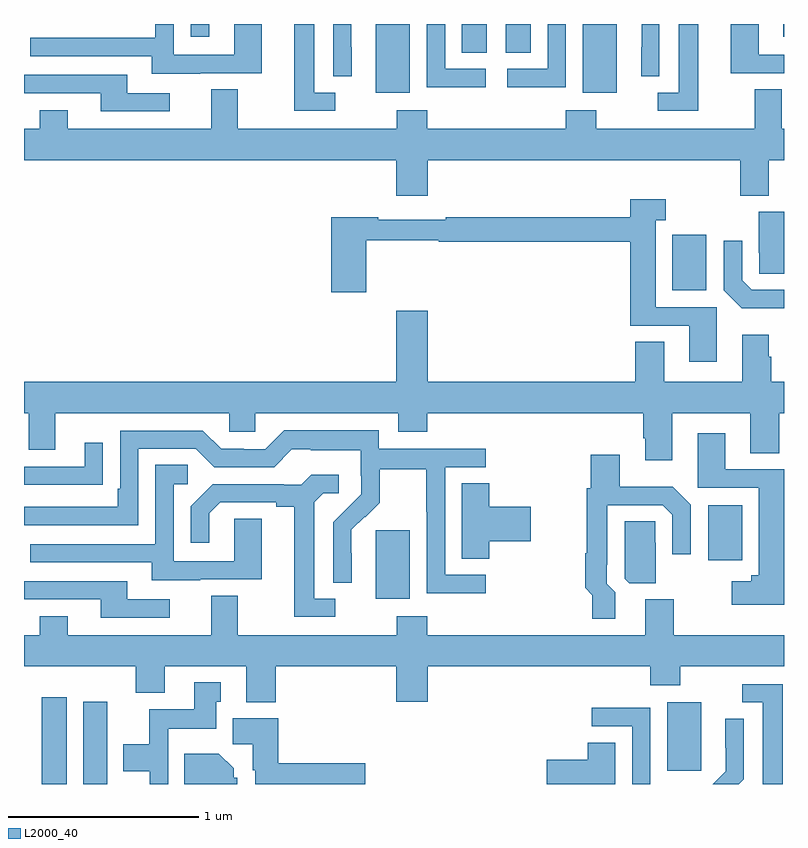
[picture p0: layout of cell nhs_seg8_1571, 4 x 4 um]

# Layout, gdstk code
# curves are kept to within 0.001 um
import gdstk
lib = gdstk.Library(unit=1e-6, precision=1e-09)
def R(c, l, rs):  # rectangles x0, y0, x1, y1
    for r in rs: c.add(gdstk.rectangle(r[:2], r[2:], *l))
def P(c, l, *ps):  # polygons
    for p in ps: c.add(gdstk.Polygon(p, *l))
L2000_40 = (2000, 40)

nhs_seg8_1571 = lib.new_cell('nhs_seg8_1571')
R(nhs_seg8_1571, L2000_40, [(211.094,1095.9,211.225,1096.357), (211.313,1095.9,211.438,1096.333), (214.385,1095.969,214.564,1096.33), (212.852,1096.874,213.031,1097.235), (214.601,1097.078,214.78,1097.368), (214.412,1098.5,214.591,1098.79), (212.852,1099.538,213.031,1099.899), (213.941,1099.538,214.12,1099.899), (213.305,1099.75,213.436,1099.9), (213.536,1099.75,213.667,1099.9), (211.878,1099.833,211.975,1099.9), (214.997,1099.833,215,1099.9)])
P(nhs_seg8_1571, L2000_40, [(215,1099.737),(214.866,1099.737),(214.866,1099.9),(214.721,1099.9),(214.721,1099.641),(215,1099.641)],
  [(211.927,1099.641),(212.251,1099.641),(212.251,1099.9),(212.106,1099.9),(212.106,1099.737),(211.788,1099.737),(211.788,1099.9),(211.692,1099.9),(211.692,1099.827),(211.033,1099.827),(211.033,1099.731),(211.673,1099.731),(211.673,1099.637),(211.927,1099.637)],
  [(214.549,1099.9),(214.445,1099.9),(214.445,1099.539),(214.335,1099.539),(214.335,1099.443),(214.549,1099.443)],
  [(212.724,1099.778),(212.723,1099.778),(212.723,1099.9),(212.628,1099.9),(212.628,1099.624),(212.724,1099.624)],
  [(213.43,1099.665),(213.216,1099.665),(213.216,1099.9),(213.12,1099.9),(213.12,1099.567),(213.43,1099.567)],
  [(213.852,1099.9),(213.756,1099.9),(213.756,1099.665),(213.543,1099.665),(213.543,1099.567),(213.852,1099.567)],
  [(212.638,1099.539),(212.527,1099.539),(212.527,1099.9),(212.423,1099.9),(212.423,1099.443),(212.638,1099.443)],
  [(214.344,1099.9),(214.25,1099.9),(214.25,1099.778),(214.248,1099.778),(214.248,1099.624),(214.344,1099.624)],
  [(211.768,1099.536),(211.543,1099.536),(211.543,1099.632),(211,1099.632),(211,1099.536),(211.403,1099.536),(211.403,1099.44),(211.768,1099.44)],
  [(213.124,1099.184),(214.769,1099.184),(214.769,1098.997),(214.921,1098.997),(214.921,1099.184),(215,1099.184),(215,1099.348),(214.987,1099.348),(214.987,1099.556),(214.847,1099.556),(214.847,1099.348),(214.011,1099.348),(214.011,1099.447),(213.851,1099.447),(213.851,1099.348),(213.122,1099.348),(213.122,1099.447),(212.962,1099.447),(212.962,1099.348),(212.125,1099.348),(212.125,1099.556),(211.985,1099.556),(211.985,1099.348),(211.231,1099.348),(211.231,1099.447),(211.084,1099.447),(211.084,1099.348),(211,1099.348),(211,1099.184),(212.96,1099.184),(212.96,1098.996),(213.124,1098.996)],
  [(214.645,1098.408),(214.324,1098.408),(214.324,1098.867),(214.378,1098.867),(214.378,1098.977),(214.19,1098.977),(214.19,1098.883),(213.22,1098.883),(213.22,1098.87),(212.864,1098.87),(212.864,1098.883),(212.618,1098.883),(212.618,1098.489),(212.801,1098.489),(212.801,1098.762),(213.184,1098.762),(213.184,1098.754),(214.19,1098.754),(214.19,1098.312),(214.502,1098.312),(214.502,1098.123),(214.645,1098.123)],
  [(215,1098.912),(214.868,1098.912),(214.868,1098.697),(214.869,1098.697),(214.869,1098.586),(215,1098.586)],
  [(215,1098.501),(214.83,1098.501),(214.779,1098.552),(214.779,1098.76),(214.683,1098.76),(214.683,1098.498),(214.777,1098.404),(215,1098.404)],
  [(214.411,1097.852),(214.823,1097.852),(214.823,1097.641),(214.976,1097.641),(214.976,1097.852),(215,1097.852),(215,1098.016),(214.934,1098.016),(214.934,1098.149),(214.921,1098.149),(214.921,1098.265),(214.781,1098.265),(214.781,1098.016),(214.369,1098.016),(214.369,1098.227),(214.217,1098.227),(214.217,1098.016),(213.124,1098.016),(213.124,1098.391),(212.96,1098.391),(212.96,1098.016),(211,1098.016),(211,1097.852),(211.025,1097.852),(211.025,1097.658),(211.165,1097.658),(211.165,1097.852),(212.079,1097.852),(212.079,1097.754),(212.217,1097.754),(212.217,1097.852),(212.969,1097.852),(212.969,1097.753),(213.122,1097.753),(213.122,1097.852),(214.259,1097.852),(214.259,1097.719),(214.271,1097.719),(214.271,1097.604),(214.411,1097.604)],
  [(213.43,1097.001),(213.216,1097.001),(213.216,1097.568),(213.43,1097.568),(213.43,1097.664),(212.868,1097.664),(212.868,1097.761),(212.371,1097.761),(212.271,1097.661),(212.156,1097.661),(212.156,1097.664),(212.037,1097.664),(211.941,1097.76),(211.506,1097.76),(211.506,1097.455),(211.493,1097.455),(211.493,1097.358),(211,1097.358),(211,1097.262),(211.602,1097.262),(211.602,1097.664),(211.905,1097.664),(212.001,1097.568),(212.316,1097.568),(212.409,1097.661),(212.509,1097.661),(212.509,1097.657),(212.772,1097.657),(212.772,1097.523),(212.774,1097.523),(212.774,1097.426),(212.628,1097.278),(212.628,1096.96),(212.724,1096.96),(212.723,1097.237),(212.793,1097.307),(212.796,1097.304),(212.873,1097.381),(212.873,1097.556),(213.118,1097.556),(213.118,1097.332),(213.12,1097.332),(213.12,1096.903),(213.43,1096.903)],
  [(215,1097.556),(214.69,1097.556),(214.69,1097.746),(214.547,1097.746),(214.547,1097.46),(214.868,1097.46),(214.868,1096.998),(214.827,1096.998),(214.827,1096.966),(214.725,1096.966),(214.725,1096.844),(215,1096.844)],
  [(211.313,1097.476),(211.415,1097.476),(211.415,1097.695),(211.319,1097.695),(211.319,1097.571),(211,1097.571),(211,1097.475),(211.313,1097.475)],
  [(214.111,1096.91),(214.068,1096.953),(214.068,1097.053),(214.071,1097.053),(214.071,1097.367),(214.362,1097.367),(214.413,1097.316),(214.413,1097.109),(214.509,1097.109),(214.509,1097.37),(214.415,1097.464),(214.135,1097.464),(214.135,1097.632),(213.983,1097.632),(213.983,1097.457),(213.963,1097.457),(213.963,1097.114),(213.953,1097.114),(213.953,1096.932),(213.991,1096.893),(213.991,1096.77),(214.111,1096.77)],
  [(211.927,1096.977),(212.251,1096.977),(212.251,1097.297),(212.106,1097.297),(212.106,1097.073),(211.788,1097.073),(211.788,1097.478),(211.861,1097.478),(211.861,1097.579),(211.692,1097.579),(211.692,1097.163),(211.033,1097.163),(211.033,1097.067),(211.673,1097.067),(211.673,1096.973),(211.927,1096.973)],
  [(212.638,1096.875),(212.527,1096.875),(212.527,1097.383),(212.574,1097.43),(212.656,1097.43),(212.656,1097.527),(212.512,1097.527),(212.46,1097.475),(212.366,1097.475),(212.366,1097.478),(211.994,1097.478),(211.878,1097.362),(211.878,1097.169),(211.975,1097.169),(211.975,1097.325),(212.032,1097.382),(212.327,1097.382),(212.327,1097.36),(212.423,1097.36),(212.423,1096.779),(212.638,1096.779)],
  [(213.449,1097.177),(213.667,1097.177),(213.667,1097.36),(213.449,1097.36),(213.449,1097.483),(213.305,1097.483),(213.305,1097.086),(213.449,1097.086)],
  [(214.324,1097.171),(214.323,1097.171),(214.323,1097.282),(214.161,1097.282),(214.161,1096.98),(214.185,1096.957),(214.324,1096.957)],
  [(211.768,1096.872),(211.543,1096.872),(211.543,1096.968),(211,1096.968),(211,1096.872),(211.403,1096.872),(211.403,1096.776),(211.768,1096.776)],
  [(212.324,1096.52),(212.96,1096.52),(212.96,1096.332),(213.124,1096.332),(213.124,1096.52),(214.295,1096.52),(214.295,1096.421),(214.455,1096.421),(214.455,1096.52),(215,1096.52),(215,1096.684),(214.419,1096.684),(214.419,1096.872),(214.271,1096.872),(214.271,1096.684),(213.122,1096.684),(213.122,1096.783),(212.962,1096.783),(212.962,1096.684),(212.125,1096.684),(212.125,1096.892),(211.985,1096.892),(211.985,1096.684),(211.231,1096.684),(211.231,1096.783),(211.084,1096.783),(211.084,1096.684),(211,1096.684),(211,1096.52),(211.589,1096.52),(211.589,1096.379),(211.741,1096.379),(211.741,1096.52),(212.171,1096.52),(212.171,1096.331),(212.324,1096.331)],
  [(211.758,1096.19),(212.011,1096.19),(212.011,1096.332),(212.035,1096.332),(212.035,1096.435),(211.895,1096.435),(211.895,1096.294),(211.66,1096.294),(211.66,1096.108),(211.523,1096.108),(211.523,1095.968),(211.662,1095.968),(211.662,1095.9),(211.758,1095.9)],
  [(214.993,1096.425),(214.779,1096.425),(214.779,1096.329),(214.889,1096.329),(214.889,1095.9),(214.993,1095.9)],
  [(214.296,1096.302),(213.987,1096.302),(213.987,1096.203),(214.2,1096.203),(214.2,1095.9),(214.296,1095.9)],
  [(212.797,1096.01),(212.339,1096.01),(212.339,1096.246),(212.099,1096.246),(212.099,1096.108),(212.204,1096.108),(212.204,1095.972),(212.216,1095.972),(212.216,1095.9),(212.797,1095.9)],
  [(214.788,1095.926),(214.788,1096.244),(214.692,1096.244),(214.692,1096.09),(214.694,1096.09),(214.694,1095.968),(214.626,1095.9),(214.762,1095.9)],
  [(214.111,1096.118),(213.968,1096.118),(213.968,1096.028),(213.75,1096.028),(213.75,1095.9),(214.111,1095.9)],
  [(212.122,1095.933),(212.104,1095.933),(212.104,1095.982),(212.026,1096.06),(211.843,1096.06),(211.843,1095.9),(212.122,1095.9)])

lib.write_gds('nhs_seg8_1571.gds')
